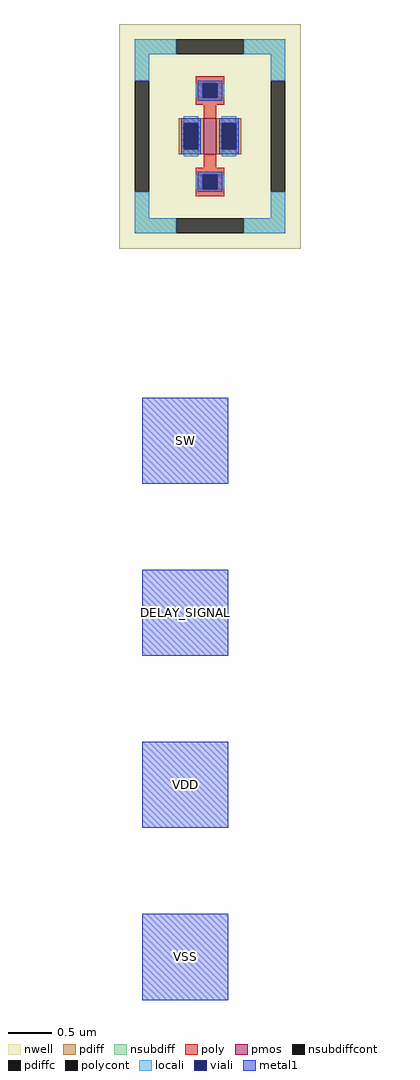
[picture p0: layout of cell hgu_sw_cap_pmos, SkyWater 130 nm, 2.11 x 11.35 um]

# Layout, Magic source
magic
tech sky130A
magscale 1 2
<< metal1 >>
rect 0 0 200 200
rect 0 -400 200 -200
rect 0 -800 200 -600
rect 0 -1200 200 -1000
use sky130_fd_pr__pfet_01v8_M479BZ  XM16
transform 1 0 158 0 1 808
box -211 -261 211 261
<< labels >>
flabel metal1 0 0 200 200 0 FreeSans 256 0 0 0 SW
port 0 nsew
flabel metal1 0 -400 200 -200 0 FreeSans 256 0 0 0 DELAY_SIGNAL
port 1 nsew
flabel metal1 0 -800 200 -600 0 FreeSans 256 0 0 0 VDD
port 2 nsew
flabel metal1 0 -1200 200 -1000 0 FreeSans 256 0 0 0 VSS
port 3 nsew
<< end >>

# cell sky130_fd_pr__pfet_01v8_M479BZ: kit device sky130_fd_pr__pfet_01v8, w 0.42 l 0.15 m 1 nf 1 diffcov 100 polycov 100 guard 1 glc 1 grc 1 gtc 1 gbc 1 tbcov 100 rlcov 100 topc 1 botc 1 poverlap 0 doverlap 1 lmin 0.15 wmin 0.42 compatible {sky130_fd_pr__pfet_01v8 sky130_fd_pr__pfet_01v8_lvt sky130_fd_pr__pfet_01v8_hvt sky130_fd_pr__pfet_g5v0d10v5} full_metal 1 viasrc 100 viadrn 100 viagate 100 viagb 0 viagr 0 viagl 0 viagt 0
